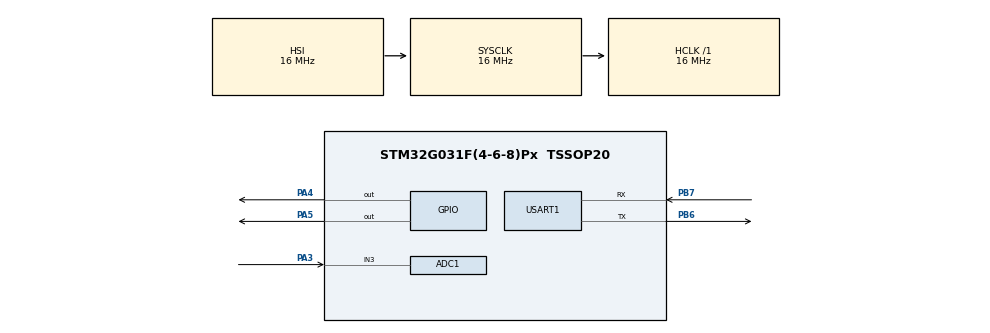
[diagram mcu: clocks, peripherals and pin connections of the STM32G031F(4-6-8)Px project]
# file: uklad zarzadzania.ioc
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ADC1.Channel-0\#ChannelRegularConversion=ADC_CHANNEL_3
ADC1.NbrOfConversionFlag=1
ADC1.Rank-0\#ChannelRegularConversion=1
ADC1.SamplingTime-0\#ChannelRegularConversion=ADC_SAMPLINGTIME_COMMON_1
ADC1.SelectedChannel=ADC_CHANNEL_3
ADC1.master=1
Mcu.Family=STM32G0
Mcu.Name=STM32G031F(4-6-8)Px
Mcu.Package=TSSOP20
PA14-BOOT0__PA15.StandardMode=true
PA3.Mode=IN3
PA3.Signal=ADC1_IN3
PA4.Signal=GPIO_Output
PA5.Signal=GPIO_Output
PB0__PB1__PB2__PA8.StandardMode=true
PB3__PB4__PB5__PB6.StandardMode=true
PB6.Mode=Asynchronous
PB6.Signal=USART1_TX
PB7.Mode=Asynchronous
PB7.Signal=USART1_RX
PB7__PB8.StandardMode=true
PC14-OSC32_IN\ (PC14)__PB9.StandardMode=true
ProjectManager.HeapSize=0x200
ProjectManager.StackSize=0x400
ProjectManager.TargetToolchain=STM32CubeIDE
RCC.AHBFreq_Value=16000000
RCC.CortexFreq_Value=16000000
RCC.EXTERNAL_CLOCK_VALUE=12288000
RCC.HCLKFreq_Value=16000000
RCC.HSE_VALUE=8000000
RCC.HSI_VALUE=16000000
RCC.LSE_VALUE=32768
RCC.SYSCLKFreq_VALUE=16000000
RCC.VCOOutputFreq_Value=128000000
USART1.VirtualMode-Asynchronous=VM_ASYNC
board=custom

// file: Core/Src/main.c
/* USER CODE BEGIN Header */
/**
  ******************************************************************************
  * @file           : main.c
  * @brief          : Main program body
  ******************************************************************************
  * @attention
  *
  * Copyright (c) 2025 STMicroelectronics.
  * All rights reserved.
  *
  * This software is licensed under terms that can be found in the LICENSE file
  * in the root directory of this software component.
  * If no LICENSE file comes with this software, it is provided AS-IS.
  *
  ******************************************************************************
  */
/* USER CODE END Header */
#include "main.h"

/* USER CODE BEGIN Includes */
#include "func.h"
/* USER CODE END Includes */

ADC_HandleTypeDef hadc1;

UART_HandleTypeDef huart1;

void SystemClock_Config(void);
static void MX_GPIO_Init(void);
static void MX_USART1_UART_Init(void);
static void MX_ADC1_Init(void);

int main(void)
{

  /* USER CODE BEGIN 1 */
int x = 0;
  /* USER CODE END 1 */

  /* MCU Configuration--------------------------------------------------------*/

  /* Reset of all peripherals, Initializes the Flash interface and the Systick. */
  HAL_Init();

  /* Configure the system clock */
  SystemClock_Config();

  /* Initialize all configured peripherals */
  MX_GPIO_Init();
  MX_USART1_UART_Init();
  MX_ADC1_Init();

  /* Infinite loop */
  /* USER CODE BEGIN WHILE */
  while (1)
  {

	  float voltage = Read_ADC_Value();
	  if (voltage < MINV){

	  		  x=1;
	  	  }
	  	  else if (voltage > MAXV){

	  		  x = 0;
	  	  };

	  if (x == 1){

		  MOSFET_ON();
		  HAL_Delay(10);
		  HUMIDIFIER_ON();
	  }
	  else if (x == 0){

		  MOSFET_OFF();
		  HUMIDIFIER_OFF();
	  };

    /* USER CODE END WHILE */

  }
}

void SystemClock_Config(void)
{
  RCC_OscInitTypeDef RCC_OscInitStruct = {0};
  RCC_ClkInitTypeDef RCC_ClkInitStruct = {0};

  /** Configure the main internal regulator output voltage
  */
  HAL_PWREx_ControlVoltageScaling(PWR_REGULATOR_VOLTAGE_SCALE1);

  /** Initializes the RCC Oscillators according to the specified parameters
  * in the RCC_OscInitTypeDef structure.
  */
  RCC_OscInitStruct.OscillatorType = RCC_OSCILLATORTYPE_HSI;
  RCC_OscInitStruct.HSIState = RCC_HSI_ON;
  RCC_OscInitStruct.HSIDiv = RCC_HSI_DIV1;
  RCC_OscInitStruct.HSICalibrationValue = RCC_HSICALIBRATION_DEFAULT;
  RCC_OscInitStruct.PLL.PLLState = RCC_PLL_NONE;
  if (HAL_RCC_OscConfig(&RCC_OscInitStruct) != HAL_OK)
  {
    Error_Handler();
  }

  /** Initializes the CPU, AHB and APB buses clocks
  */
  RCC_ClkInitStruct.ClockType = RCC_CLOCKTYPE_HCLK|RCC_CLOCKTYPE_SYSCLK
                              |RCC_CLOCKTYPE_PCLK1;
  RCC_ClkInitStruct.SYSCLKSource = RCC_SYSCLKSOURCE_HSI;
  RCC_ClkInitStruct.AHBCLKDivider = RCC_SYSCLK_DIV1;
  RCC_ClkInitStruct.APB1CLKDivider = RCC_HCLK_DIV1;

  if (HAL_RCC_ClockConfig(&RCC_ClkInitStruct, FLASH_LATENCY_0) != HAL_OK)
  {
    Error_Handler();
  }
}

static void MX_ADC1_Init(void)
{

  ADC_ChannelConfTypeDef sConfig = {0};

  /** Configure the global features of the ADC (Clock, Resolution, Data Alignment and number of conversion)
  */
  hadc1.Instance = ADC1;
  hadc1.Init.ClockPrescaler = ADC_CLOCK_SYNC_PCLK_DIV2;
  hadc1.Init.Resolution = ADC_RESOLUTION_12B;
  hadc1.Init.DataAlign = ADC_DATAALIGN_RIGHT;
  hadc1.Init.ScanConvMode = ADC_SCAN_DISABLE;
  hadc1.Init.EOCSelection = ADC_EOC_SINGLE_CONV;
  hadc1.Init.LowPowerAutoWait = DISABLE;
  hadc1.Init.LowPowerAutoPowerOff = DISABLE;
  hadc1.Init.ContinuousConvMode = DISABLE;
  hadc1.Init.NbrOfConversion = 1;
  hadc1.Init.DiscontinuousConvMode = DISABLE;
  hadc1.Init.ExternalTrigConv = ADC_SOFTWARE_START;
  hadc1.Init.ExternalTrigConvEdge = ADC_EXTERNALTRIGCONVEDGE_NONE;
  hadc1.Init.DMAContinuousRequests = DISABLE;
  hadc1.Init.Overrun = ADC_OVR_DATA_PRESERVED;
  hadc1.Init.SamplingTimeCommon1 = ADC_SAMPLETIME_1CYCLE_5;
  hadc1.Init.SamplingTimeCommon2 = ADC_SAMPLETIME_1CYCLE_5;
  hadc1.Init.OversamplingMode = DISABLE;
  hadc1.Init.TriggerFrequencyMode = ADC_TRIGGER_FREQ_HIGH;
  if (HAL_ADC_Init(&hadc1) != HAL_OK)
  {
    Error_Handler();
  }

  /** Configure Regular Channel
  */
  sConfig.Channel = ADC_CHANNEL_3;
  sConfig.Rank = ADC_REGULAR_RANK_1;
  sConfig.SamplingTime = ADC_SAMPLINGTIME_COMMON_1;
  if (HAL_ADC_ConfigChannel(&hadc1, &sConfig) != HAL_OK)
  {
    Error_Handler();
  }

}

static void MX_USART1_UART_Init(void)
{

  huart1.Instance = USART1;
  huart1.Init.BaudRate = 115200;
  huart1.Init.WordLength = UART_WORDLENGTH_8B;
  huart1.Init.StopBits = UART_STOPBITS_1;
  huart1.Init.Parity = UART_PARITY_NONE;
  huart1.Init.Mode = UART_MODE_TX_RX;
  huart1.Init.HwFlowCtl = UART_HWCONTROL_NONE;
  huart1.Init.OverSampling = UART_OVERSAMPLING_16;
  huart1.Init.OneBitSampling = UART_ONE_BIT_SAMPLE_DISABLE;
  huart1.Init.ClockPrescaler = UART_PRESCALER_DIV1;
  huart1.AdvancedInit.AdvFeatureInit = UART_ADVFEATURE_NO_INIT;
  if (HAL_UART_Init(&huart1) != HAL_OK)
  {
    Error_Handler();
  }
  if (HAL_UARTEx_SetTxFifoThreshold(&huart1, UART_TXFIFO_THRESHOLD_1_8) != HAL_OK)
  {
    Error_Handler();
  }
  if (HAL_UARTEx_SetRxFifoThreshold(&huart1, UART_RXFIFO_THRESHOLD_1_8) != HAL_OK)
  {
    Error_Handler();
  }
  if (HAL_UARTEx_DisableFifoMode(&huart1) != HAL_OK)
  {
    Error_Handler();
  }

}

static void MX_GPIO_Init(void)
{
  GPIO_InitTypeDef GPIO_InitStruct = {0};

  /* GPIO Ports Clock Enable */
  __HAL_RCC_GPIOB_CLK_ENABLE();
  __HAL_RCC_GPIOA_CLK_ENABLE();

  /*Configure GPIO pin Output Level */
  HAL_GPIO_WritePin(GPIOA, GPIO_PIN_4|GPIO_PIN_5, GPIO_PIN_RESET);

  /*Configure GPIO pins : PA4 PA5 */
  GPIO_InitStruct.Pin = GPIO_PIN_4|GPIO_PIN_5;
  GPIO_InitStruct.Mode = GPIO_MODE_OUTPUT_PP;
  GPIO_InitStruct.Pull = GPIO_NOPULL;
  GPIO_InitStruct.Speed = GPIO_SPEED_FREQ_LOW;
  HAL_GPIO_Init(GPIOA, &GPIO_InitStruct);

}

void Error_Handler(void)
{
  __disable_irq();
  while (1)
  {
  }
}
